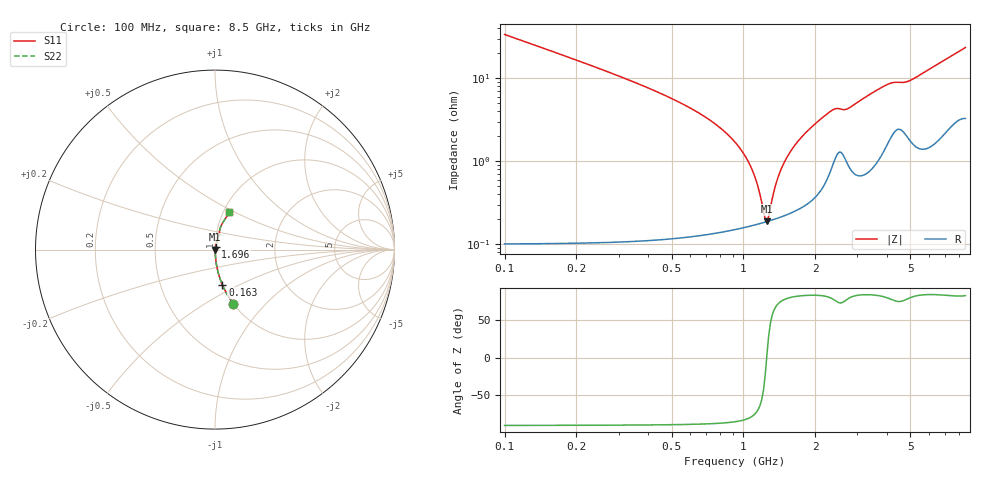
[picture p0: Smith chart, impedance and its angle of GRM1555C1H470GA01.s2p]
!Murata Part Number: GRM1555C1H470GA01
!These Parameters are Measured in Series Mode Connection
!Data Generated on Mar 30, 2021
!  o--ll--o
!Port1  Port2
!  o------o
!Operation Temp=25[degC], DC Bias Voltage=0[V]
!Freq. Start=100[MHz] Stop=9[GHz] 401[Steps]
# Hz S RI R 50
!Freq.(Hz) S11(Real) S11(Imag) S21(Real) S21(Imag) S12(Real) S12(Imag) S22(Real) S22(Imag)
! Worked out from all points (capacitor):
!   401 points, 100 MHz to 8.5 GHz, reference 50 ohm
!   read as one part in series: C = 47 pF near 142 MHz
!   lowest |Z| = 188 mohm at 1.255 GHz (marker M1)
!   series resonance near 1.252 GHz, so ESL is about 340 pH
!   S11 on the Smith chart (normalised r, x): 100 MHz: 1.00, -0.67; 163 MHz: 1.00, -0.41; 1.696 GHz: 1.01, +0.03; 8.5 GHz: 1.07, +0.46
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1e8  0.1024 -0.3017  0.8976 0.3017  0.8976 0.3017  0.1024 -0.3017
1.63e8  0.0409 -0.1957  0.9591 0.1957  0.9591 0.1957  0.0409 -0.1957
3.52e8  0.00885 -0.0878  0.9911 0.0878  0.9911 0.0878  0.00885 -0.0878
8.14e8  0.00197 -0.024  0.998 0.024  0.998 0.024  0.00197 -0.024
9.82e8  0.00173 -0.0133  0.9983 0.0133  0.9983 0.0133  0.00173 -0.0133
1.087e9  0.00173 -0.0077  0.9983 0.0077  0.9983 0.0077  0.00173 -0.0077
1.15e9  0.00176 -0.00462  0.9982 0.00462  0.9982 0.00462  0.00176 -0.00462
1.213e9  0.00182 -0.00171  0.9982 0.00171  0.9982 0.00171  0.00182 -0.00171
1.255e9  0.00187 0.000151  0.9981 -0.000151  0.9981 -0.000151  0.00187 0.000151
1.297e9  0.00193 0.00195  0.9981 -0.00195  0.9981 -0.00195  0.00193 0.00195
1.402e9  0.00211 0.00626  0.9979 -0.00626  0.9979 -0.00626  0.00211 0.00626
1.507e9  0.00234 0.0103  0.9977 -0.0103  0.9977 -0.0103  0.00234 0.0103
1.696e9  0.0029 0.0172  0.9971 -0.0172  0.9971 -0.0172  0.0029 0.0172
1.948e9  0.00409 0.026  0.9959 -0.026  0.9959 -0.026  0.00409 0.026
2.305e9  0.00874 0.0382  0.9913 -0.0382  0.9913 -0.0382  0.00874 0.0382
2.914e9  0.00921 0.0469  0.9908 -0.0469  0.9908 -0.0469  0.00921 0.0469
3.712e9  0.0158 0.0721  0.9842 -0.0721  0.9842 -0.0721  0.0158 0.0721
4.3e9  0.029 0.0819  0.971 -0.0819  0.971 -0.0819  0.029 0.0819
4.846e9  0.0267 0.0847  0.9733 -0.0847  0.9733 -0.0847  0.0267 0.0847
5.707e9  0.0266 0.1119  0.9734 -0.1119  0.9734 -0.1119  0.0266 0.1119
7.114e9  0.0489 0.1588  0.9511 -0.1588  0.9511 -0.1588  0.0489 0.1588
8.5e9  0.0784 0.2075  0.9216 -0.2075  0.9216 -0.2075  0.0784 0.2075
